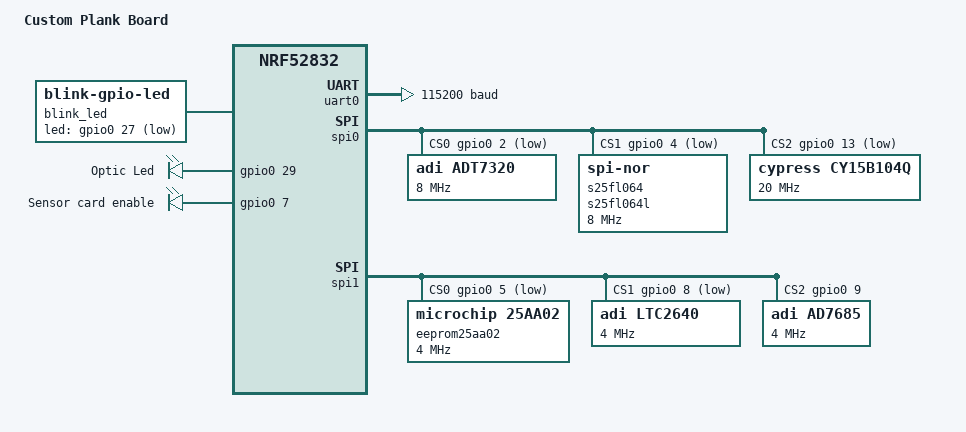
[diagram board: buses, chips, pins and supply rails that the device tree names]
/*
 * Copyright (c) 2021 Nordic Semiconductor ASA
 * SPDX-License-Identifier: Apache-2.0
 */

/dts-v1/;
#include <nordic/nrf52832_qfaa.dtsi>
#include "lirisv3-pinctrl.dtsi"

/ {
	model = "Custom Plank Board";
	compatible = "vendor,custom-plank";

	chosen {
		zephyr,console = &uart0;
		zephyr,shell-uart = &uart0;
		zephyr,sram = &sram0;
		zephyr,flash = &flash0;
	};
	aliases {
		optic-led = &led0;
		sensor-enable = &led1;
		logic-test = &led0;
		watchdog0 = &wdt0;
		eeprom-0 = &eeprom25aa02;
	};

	blink_led: blink-led {
		compatible = "blink-gpio-led";
		led-gpios = <&gpio0 27 GPIO_ACTIVE_LOW>;
		blink-period-ms = <500>;
	};

	leds {
		compatible = "gpio-leds";
		led0: led_0 {
			gpios = <&gpio0 29 GPIO_ACTIVE_HIGH>;
			label = "Optic Led";
		};
		led1: led_1 {
			gpios = <&gpio0 7 GPIO_ACTIVE_HIGH>;
			label = "Sensor card enable";
		};
	};
};

&uicr {
	gpio-as-nreset;
};

&gpiote {
	status = "okay";
};

&gpio0 {
	status = "okay";
};

&uart0 {
	compatible = "nordic,nrf-uarte";
	status = "okay";

	current-speed = <115200>;
	pinctrl-0 = <&uart0_default>;
	pinctrl-1 = <&uart0_sleep>;
	pinctrl-names = "default", "sleep";
};

spi0: &spi0 {
	compatible = "nordic,nrf-spim";
	/* Cannot be used together with i2c0. */
	status = "okay";
    cs-gpios = <&gpio0 2 GPIO_ACTIVE_LOW>,
			   <&gpio0 4 GPIO_ACTIVE_LOW>,
			   <&gpio0 13 GPIO_ACTIVE_LOW>;
	pinctrl-0 = <&spi0_default>;
	pinctrl-1 = <&spi0_sleep>;
	pinctrl-names = "default", "sleep";
	adt7320: adt7320@0 {
		compatible = "adi,adt7320";
		reg = <0x0>;
		spi-max-frequency = <8000000>;
	};
    s25fl064: s25fl064l@1 {
		compatible = "jedec,spi-nor";
		reg = <1>;
		spi-max-frequency = <8000000>;
		jedec-id = [01 60 17];
		size = <67108864>;
	};
    cy15b104q: cy15b104q@2 {
        compatible = "cypress,cy15b104q";
        reg = <2>;   // SPI chip select (must match cs-gpios index)
        size = <16777216>;
        spi-max-frequency = <20000000>;
        label = "cy15b104q";
    };
};

spi1: &spi1 {
	compatible = "nordic,nrf-spim";
	status = "okay";
    cs-gpios = <&gpio0 5 GPIO_ACTIVE_LOW>,
			   <&gpio0 8 GPIO_ACTIVE_LOW>,
			   <&gpio0 9 GPIO_ACTIVE_HIGH>;
	pinctrl-0 = <&spi1_default>;
	pinctrl-1 = <&spi1_sleep>;
	pinctrl-names = "default", "sleep";
	eeprom25aa02: eeprom25aa02@0 {
		compatible = "microchip,25aa02";
		reg = <0x0>;
		spi-max-frequency = <4000000>;
		size = <256>;
		pagesize = <16>;
		address-width = <8>;
		timeout = <5>;
	};
	ltc2640: ltc2640@1 {
		compatible = "adi,ltc2640";
		reg = <0x1>;
		spi-max-frequency = <4000000>;
		resolution = <12>;
		voltage-reference-mv = <2500>;
		#io-channel-cells = <1>;
	};
	ad7685: ad7685@2 {
		compatible = "adi,ad7685";
		reg = <0x2>;
		spi-max-frequency = <4000000>;
	};
};
